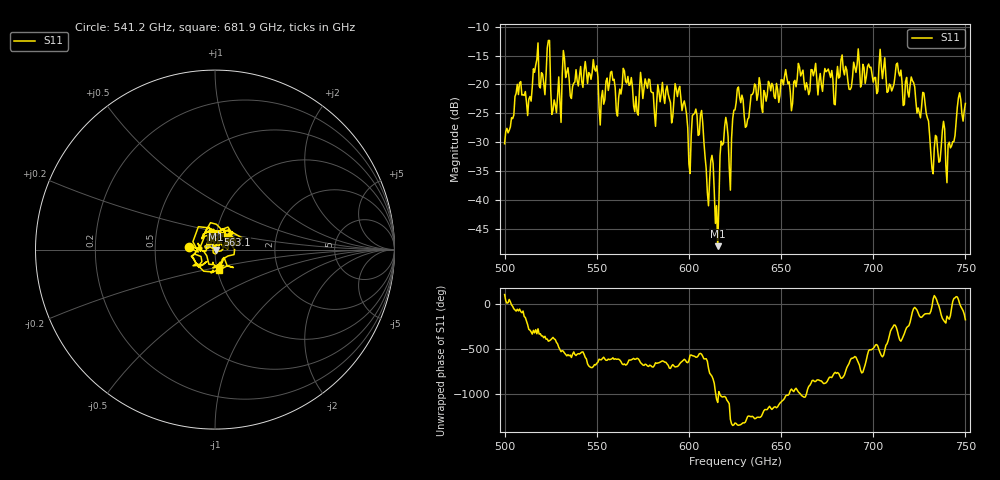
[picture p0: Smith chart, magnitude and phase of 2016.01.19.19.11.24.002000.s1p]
!Created with skrf (http://scikit-rf.org).
# GHz S RI R 50.0
!freq ReS11 ImS11
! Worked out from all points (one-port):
!   401 points, 500 GHz to 750 GHz, reference 50 ohm
!   lowest |S11| = -48.0 dB at 615.6 GHz (marker M1), VSWR 1.01, Z = 50.4 - j0.127 ohm
!   |S11| at or under -10 dB: start of sweep to end of sweep
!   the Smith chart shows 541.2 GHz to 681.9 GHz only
!   S11 on the Smith chart (normalised r, x): 541.2 GHz: 0.75, +0.02; 563.1 GHz: 1.02, +0.17; 681.9 GHz: 1.02, -0.24
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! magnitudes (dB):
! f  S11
! 500 GHz  -30.3
! 507.5 GHz  -21.8
! 513.1 GHz  -22.6
! 516.9 GHz  -16.7
! 520.6 GHz  -18.2
! 523.8 GHz  -12.4
! 526.9 GHz  -22.7
! 531.2 GHz  -18.4
! 541.2 GHz  -16.9
! 562.5 GHz  -20.8
! 563.1 GHz  -21.7
! 593.8 GHz  -22.1
! 600 GHz  -33.8
! 606.9 GHz  -24.5
! 610 GHz  -38.7
! 615.6 GHz  -48.0
! 618.8 GHz  -30.2
! 622.5 GHz  -38.3
! 625 GHz  -24.4
! 656.2 GHz  -23.2
! 681.9 GHz  -18.7
! 687.5 GHz  -20.9
! 718.8 GHz  -21.3
! 728.1 GHz  -23.3
! 731.9 GHz  -34.6
! 740.6 GHz  -30.5
! 746.2 GHz  -22.3
! 750 GHz  -23.3
